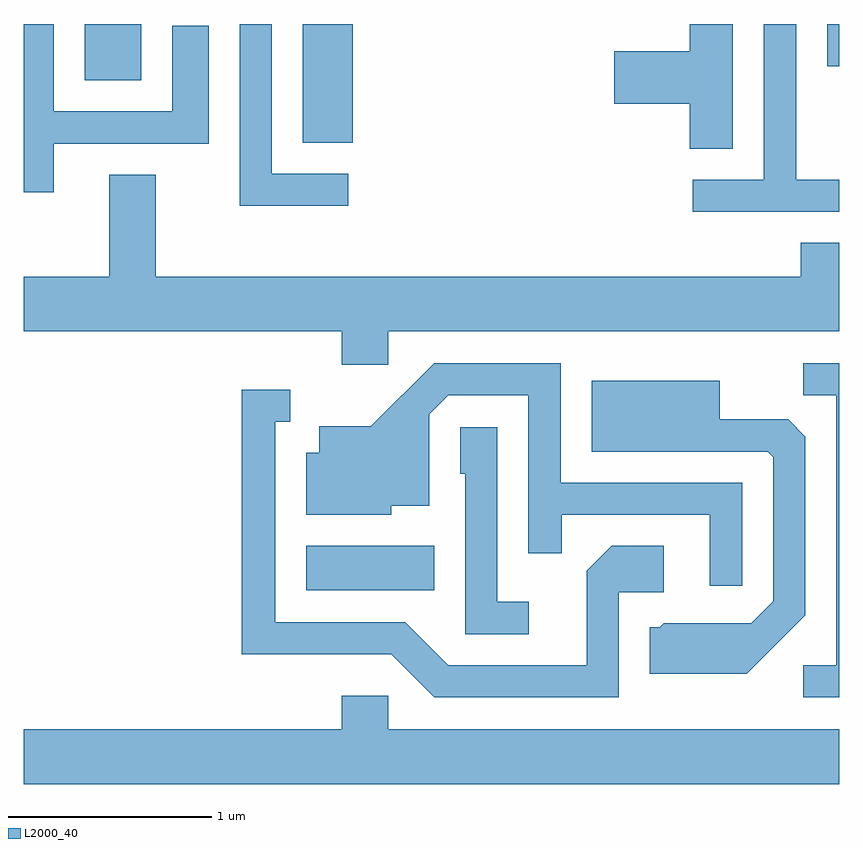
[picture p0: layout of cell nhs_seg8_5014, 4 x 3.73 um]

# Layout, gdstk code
import gdstk
lib = gdstk.Library(unit=1e-6, precision=1e-09)
def R(c, l, rs):  # rectangles x0, y0, x1, y1
    for r in rs: c.add(gdstk.rectangle(r[:2], r[2:], *l))
def P(c, l, *ps):  # polygons
    for p in ps: c.add(gdstk.Polygon(p, *l))
L2000_40 = (2000, 40)

nhs_seg8_5014 = lib.new_cell('nhs_seg8_5014')
R(nhs_seg8_5014, L2000_40, [(336.996,1859.566,337.624,1859.784), (336.981,1861.761,337.224,1862.342), (335.911,1862.066,336.189,1862.342), (339.551,1862.136,339.611,1862.342)])
P(nhs_seg8_5014, L2000_40, [(339.089,1862.342),(338.876,1862.342),(338.876,1862.209),(338.506,1862.209),(338.506,1861.951),(338.876,1861.951),(338.876,1861.731),(339.089,1861.731)],
  [(337.203,1861.609),(336.829,1861.609),(336.829,1862.342),(336.671,1862.342),(336.671,1861.451),(337.203,1861.451)],
  [(339.611,1861.579),(339.399,1861.579),(339.399,1862.342),(339.241,1862.342),(339.241,1861.579),(338.893,1861.579),(338.893,1861.421),(339.611,1861.421)],
  [(335.759,1861.756),(336.519,1861.756),(336.519,1862.334),(336.341,1862.334),(336.341,1861.914),(335.759,1861.914),(335.759,1862.342),(335.611,1862.342),(335.611,1861.518),(335.759,1861.518)],
  [(337.399,1860.836),(339.611,1860.836),(339.611,1861.269),(339.421,1861.269),(339.421,1861.104),(336.259,1861.104),(336.259,1861.604),(336.031,1861.604),(336.031,1861.104),(335.611,1861.104),(335.611,1860.836),(337.171,1860.836),(337.171,1860.671),(337.399,1860.671)],
  [(339.134,1860.094),(338.244,1860.094),(338.244,1860.679),(337.624,1860.679),(337.314,1860.369),(337.061,1860.369),(337.061,1860.239),(336.996,1860.239),(336.996,1859.936),(337.414,1859.936),(337.414,1859.981),(337.599,1859.981),(337.599,1860.429),(337.692,1860.521),(338.086,1860.521),(338.086,1859.748),(338.249,1859.748),(338.249,1859.936),(338.976,1859.936),(338.976,1859.588),(339.134,1859.588)],
  [(339.611,1860.679),(339.433,1860.679),(339.433,1860.521),(339.596,1860.521),(339.596,1859.199),(339.433,1859.199),(339.433,1859.041),(339.611,1859.041)],
  [(339.444,1859.444),(339.444,1860.319),(339.359,1860.404),(339.024,1860.404),(339.024,1860.594),(338.396,1860.594),(338.396,1860.246),(339.259,1860.246),(339.286,1860.219),(339.286,1859.512),(339.179,1859.404),(338.749,1859.404),(338.729,1859.384),(338.681,1859.384),(338.681,1859.156),(339.157,1859.156)],
  [(338.529,1859.556),(338.749,1859.556),(338.749,1859.784),(338.494,1859.784),(338.371,1859.662),(338.371,1859.199),(337.692,1859.199),(337.482,1859.409),(336.844,1859.409),(336.844,1860.391),(336.918,1860.391),(336.918,1860.549),(336.681,1860.549),(336.681,1859.251),(337.414,1859.251),(337.624,1859.041),(338.529,1859.041)],
  [(338.088,1859.509),(337.934,1859.509),(337.934,1860.364),(337.751,1860.364),(337.751,1860.136),(337.776,1860.136),(337.776,1859.351),(338.088,1859.351)],
  [(339.611,1858.884),(337.399,1858.884),(337.399,1859.049),(337.171,1859.049),(337.171,1858.884),(335.611,1858.884),(335.611,1858.616),(339.611,1858.616)])

lib.write_gds('nhs_seg8_5014.gds')
